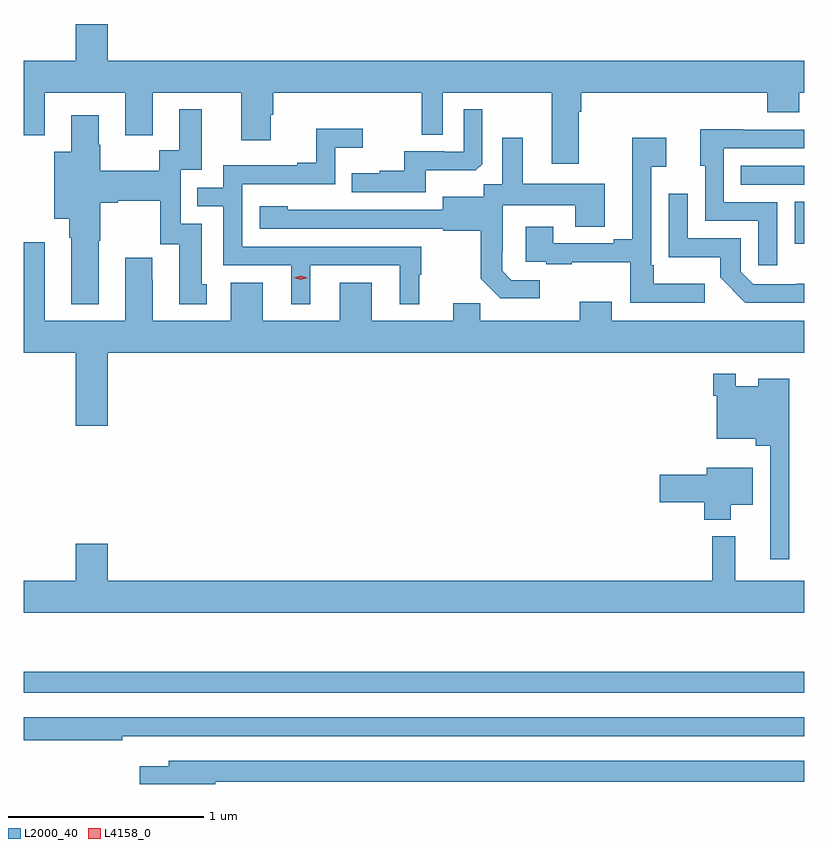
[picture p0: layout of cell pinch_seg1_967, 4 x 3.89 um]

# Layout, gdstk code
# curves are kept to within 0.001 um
import gdstk
lib = gdstk.Library(unit=1e-6, precision=1e-09)
def R(c, l, rs):  # rectangles x0, y0, x1, y1
    for r in rs: c.add(gdstk.rectangle(r[:2], r[2:], *l))
def P(c, l, *ps):  # polygons
    for p in ps: c.add(gdstk.Polygon(p, *l))
L2000_40 = (2000, 40)
L4158_0 = (4158, 0)

pinch_seg1_967 = lib.new_cell('pinch_seg1_967')
R(pinch_seg1_967, L2000_40, [(320.586,549.99,324.586,550.099), (324.536,552.29,324.586,552.505), (324.259,552.594,324.586,552.69)])
P(pinch_seg1_967, L2000_40, [(323.431,552.968),(323.444,552.968),(323.444,553.064),(324.395,553.064),(324.395,552.965),(324.559,552.965),(324.559,553.064),(324.586,553.064),(324.586,553.228),(321.016,553.228),(321.016,553.417),(320.852,553.417),(320.852,553.228),(320.586,553.228),(320.586,552.846),(320.695,552.846),(320.695,553.064),(321.107,553.064),(321.107,552.846),(321.247,552.846),(321.247,553.064),(321.701,553.064),(321.701,552.822),(321.853,552.822),(321.853,552.951),(321.866,552.951),(321.866,553.064),(322.626,553.064),(322.626,552.85),(322.734,552.85),(322.734,553.064),(323.291,553.064),(323.291,552.702),(323.431,552.702)],
  [(320.971,552.307),(320.979,552.307),(320.979,552.5),(321.067,552.5),(321.067,552.512),(321.287,552.512),(321.287,552.288),(321.383,552.288),(321.383,551.982),(321.523,551.982),(321.523,552.084),(321.499,552.084),(321.499,552.393),(321.39,552.393),(321.39,552.669),(321.499,552.669),(321.499,552.979),(321.383,552.979),(321.383,552.77),(321.282,552.77),(321.282,552.664),(320.979,552.664),(320.979,552.798),(320.971,552.798),(320.971,552.949),(320.831,552.949),(320.831,552.763),(320.744,552.763),(320.744,552.419),(320.819,552.419),(320.819,552.323),(320.831,552.323),(320.831,551.981),(320.971,551.981)],
  [(322.645,552.668),(322.903,552.668),(322.935,552.699),(322.935,552.979),(322.842,552.979),(322.842,552.762),(322.742,552.762),(322.742,552.765),(322.535,552.765),(322.535,552.664),(322.411,552.664),(322.411,552.652),(322.267,552.652),(322.267,552.555),(322.645,552.555)],
  [(322.054,552.18),(322.514,552.18),(322.514,551.981),(322.612,551.981),(322.612,552.132),(322.624,552.132),(322.624,552.276),(321.705,552.276),(321.705,552.597),(322.182,552.597),(322.182,552.782),(322.324,552.782),(322.324,552.881),(322.084,552.881),(322.084,552.706),(321.989,552.706),(321.989,552.693),(321.609,552.693),(321.609,552.579),(321.475,552.579),(321.475,552.483),(321.609,552.483),(321.609,552.18),(321.956,552.18),(321.956,551.981),(322.054,551.981)],
  [(324.447,552.504),(324.174,552.504),(324.174,552.78),(324.586,552.78),(324.586,552.876),(324.271,552.876),(324.271,552.878),(324.053,552.878),(324.053,552.69),(324.078,552.69),(324.078,552.408),(324.351,552.408),(324.351,552.18),(324.447,552.18)],
  [(324.076,552.085),(323.815,552.085),(323.815,552.181),(323.802,552.181),(323.802,552.686),(323.878,552.686),(323.878,552.835),(323.705,552.835),(323.705,552.313),(323.609,552.313),(323.609,552.294),(323.299,552.294),(323.299,552.379),(323.159,552.379),(323.159,552.198),(323.263,552.198),(323.263,552.186),(323.395,552.186),(323.395,552.197),(323.694,552.197),(323.694,551.988),(324.076,551.988)],
  [(323.23,552.105),(323.085,552.105),(323.038,552.152),(323.038,552.247),(323.04,552.247),(323.04,552.488),(323.411,552.488),(323.411,552.379),(323.563,552.379),(323.563,552.598),(323.143,552.598),(323.143,552.835),(323.039,552.835),(323.039,552.596),(322.944,552.596),(322.944,552.532),(322.733,552.532),(322.733,552.465),(321.939,552.466),(321.939,552.484),(321.795,552.484),(321.795,552.369),(322.737,552.369),(322.737,552.357),(322.929,552.357),(322.929,552.111),(323.029,552.011),(323.23,552.011)],
  [(324.586,552.086),(324.548,552.086),(324.548,552.084),(324.324,552.084),(324.261,552.147),(324.261,552.318),(323.988,552.318),(323.988,552.547),(323.892,552.547),(323.892,552.221),(324.154,552.221),(324.154,552.119),(324.284,551.988),(324.586,551.988)],
  [(321.016,551.732),(324.586,551.732),(324.586,551.896),(323.599,551.896),(323.599,551.995),(323.435,551.995),(323.435,551.896),(322.925,551.896),(322.925,551.987),(322.787,551.987),(322.787,551.896),(322.369,551.896),(322.369,552.091),(322.205,552.091),(322.205,551.896),(321.811,551.896),(321.811,552.091),(321.647,552.091),(321.647,551.896),(321.247,551.896),(321.247,552.107),(321.244,552.107),(321.244,552.22),(321.107,552.22),(321.107,551.896),(320.695,551.896),(320.695,552.298),(320.586,552.298),(320.586,551.732),(320.852,551.732),(320.852,551.358),(321.016,551.358)],
  [(324.508,551.599),(324.35,551.599),(324.35,551.56),(324.234,551.56),(324.234,551.626),(324.118,551.626),(324.118,551.513),(324.138,551.513),(324.138,551.291),(324.338,551.291),(324.338,551.255),(324.411,551.255),(324.411,550.674),(324.508,550.674)],
  [(324.208,550.955),(324.322,550.955),(324.322,551.143),(324.086,551.143),(324.086,551.108),(323.844,551.108),(323.844,550.966),(324.074,550.966),(324.074,550.877),(324.208,550.877)],
  [(324.586,550.564),(324.233,550.564),(324.233,550.792),(324.115,550.792),(324.115,550.564),(321.016,550.564),(321.016,550.753),(320.852,550.753),(320.852,550.564),(320.586,550.564),(320.586,550.4),(324.586,550.4)],
  [(321.092,549.768),(324.586,549.768),(324.586,549.864),(320.586,549.864),(320.586,549.748),(321.092,549.748)],
  [(321.568,549.534),(324.586,549.534),(324.586,549.642),(321.329,549.642),(321.329,549.613),(321.18,549.613),(321.18,549.523),(321.568,549.523)])
P(pinch_seg1_967, L4158_0, [(322.005,552.106),(321.969,552.116),(321.969,552.116),(321.969,552.116),(322.005,552.126),(322.041,552.116),(322.041,552.116),(322.041,552.116)])

lib.write_gds('pinch_seg1_967.gds')
